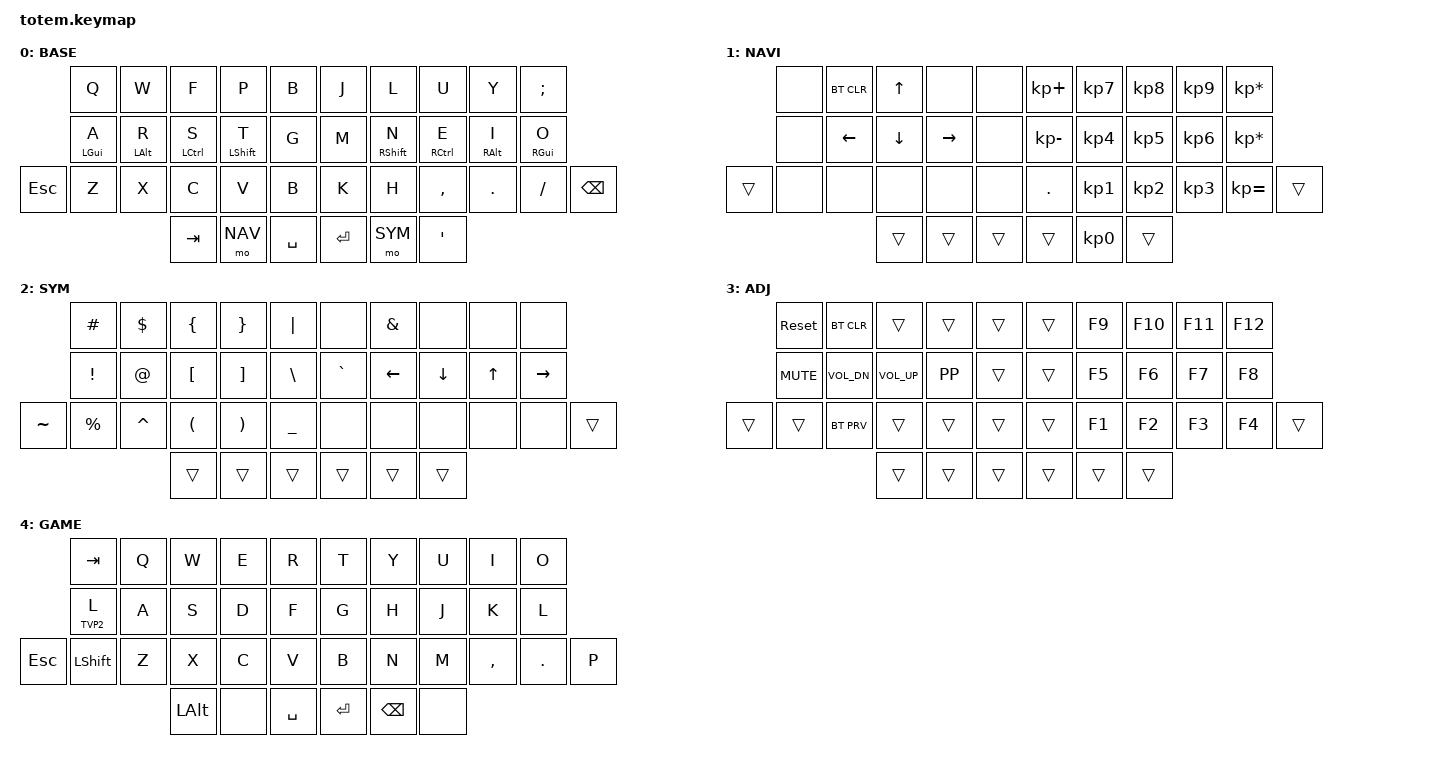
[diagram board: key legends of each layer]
r/
//                                                        ▀▀▀▀▀     ▀▀▀▀▀          ▀▀█▀▀
//                                                        ▄▀▀▀▄  ▄  ▄▀▀▀▄  ▄  ▄▀▀▀▄  █  ▄▀▀▀▄
//                                                        █   █  █  █   █  █  █   █  █  █   █
//                                                         ▀▀▀   █   ▀▀▀   █   ▀▀▀   ▀   ▀▀▀
//                                                               █      ▄▄▄█▄▄▄    █   █  
//                                                               ▀      █  █  █     █▄█
//                                                             ▀▀▀▀▀    █  █  █      ▀
//                                                                      ▀  ▀  ▀
//
// ▄▄▄▄▄▄▄▄▄▄▄▄▄▄▄▄▄▄▄▄▄▄▄▄▄▄▄▄▄▄▄▄▄▄▄▄▄▄▄▄▄▄▄▄▄▄▄▄▄▄▄▄▄▄▄▄▄▄▄▄▄▄▄▄▄▄▄▄▄▄▄▄▄▄▄▄▄▄▄▄▄▄▄▄▄▄▄▄▄▄▄▄▄▄▄▄▄▄▄▄▄▄▄▄▄▄▄▄▄▄▄▄▄▄▄▄▄▄▄▄▄▄▄▄▄▄▄▄▄▄▄▄▄▄▄▄▄▄▄▄▄▄▄▄▄▄▄▄▄
       

#include <behaviors.dtsi>
#include <dt-bindings/zmk/keys.h>
#include <dt-bindings/zmk/bt.h>
#include <dt-bindings/zmk/outputs.h>

#define BASE 0
#define NAV  1
#define SYM  2
#define ADJ  3
#define TVP1 4
#define TVP2 5

&mt {
  quick-tap-ms = <200>;
  global-quick-tap;
  flavor = "tap-preferred";
  tapping-term-ms = <200>;
};
    
/ {
     combos {
            compatible = "zmk,combos";
            combo_game_toggle {
                timeout-ms = <50>;
                key-positions = <0 14>;
                bindings = <&tog GAME>;
            };
    };

    macros {
        gif: gif {
            label = "giphy";
            compatible = "zmk,behavior-macro";
            #binding-cells = <0>;
            bindings
                = <&macro_press &kp LSHFT>
                , <&macro_tap &kp N2>
                , <&macro_release &kp LSHFT>
                , <&macro_tap &kp G &kp I &kp F>
                ;
        };
    };

        keymap {
                compatible = "zmk,keymap";
// ▄▄▄▄▄▄▄▄▄▄▄▄▄▄▄▄▄▄▄▄▄▄▄▄▄▄▄▄▄▄▄▄▄▄▄▄▄▄▄▄▄▄▄▄▄▄▄▄▄▄▄▄▄▄▄▄▄▄▄▄▄▄▄▄▄▄▄▄▄▄▄▄▄▄▄▄▄▄▄▄▄▄▄▄▄▄▄▄▄▄▄▄▄▄▄▄▄▄▄▄▄▄▄▄▄▄▄▄▄▄▄▄▄▄▄▄▄▄▄▄▄▄▄▄▄▄▄▄▄▄▄▄▄▄▄▄▄▄▄▄▄▄▄▄▄▄▄▄▄

                base_layer {
// ┏━━━━━━━━━━━━━━━━━━━━━━━━━━━━━━━━━━━━━━━┓
label= "BASE"                              ;
// ┗━━━━━━━━━━━━━━━━━━━━━━━━━━━━━━━━━━━━━━━┛
//             ┏━━━━━━━━━━━┳━━━━━━━━━━━┳━━━━━━━━━━━┳━━━━━━━━━━━┳━━━━━━━━━━━┓   ┏━━━━━━━━━━━┳━━━━━━━━━━━┳━━━━━━━━━━━┳━━━━━━━━━━━┳━━━━━━━━━━━┓
//             ┃     Q     ┃     W     ┃     F     ┃     P     ┃     B     ┃   ┃     J     ┃     L     ┃     U     ┃     Y     ┃     ;     ┃
//             ┣━━━━━━━━━━━╋━━━━━━━━━━━╋━━━━━━━━━━━╋━━━━━━━━━━━╋━━━━━━━━━━━┫   ┣━━━━━━━━━━━╋━━━━━━━━━━━╋━━━━━━━━━━━╋━━━━━━━━━━━╋━━━━━━━━━━━┫
//             ┃     A     ┃     R     ┃     S     ┃     T     ┃     G     ┃   ┃     M     ┃     N     ┃     E     ┃     I     ┃     O     ┃
// ┏━━━━━━━━━━━╋━━━━━━━━━━━╋━━━━━━━━━━━╋━━━━━━━━━━━╋━━━━━━━━━━━╋━━━━━━━━━━━┫   ┣━━━━━━━━━━━╋━━━━━━━━━━━╋━━━━━━━━━━━╋━━━━━━━━━━━╋━━━━━━━━━━━╋━━━━━━━━━━━┓
// ┃    ESC    ┃     Z     ┃     X     ┃     C     ┃     V     ┃     B     ┃   ┃     K     ┃     H     ┃     ,     ┃     .     ┃     /     ┃    BSPC   ┃
// ┗━━━━━━━━━━━┻━━━━━━━━━━━┻━━━━━━━━━━━╋━━━━━━━━━━━╋━━━━━━━━━━━╋━━━━━━━━━━━┫   ┣━━━━━━━━━━━╋━━━━━━━━━━━╋━━━━━━━━━━━╋━━━━━━━━━━━┻━━━━━━━━━━━┻━━━━━━━━━━━┛
//                                     ┃    TAB    ┃           ┃    SPC    ┃   ┃   ENTER   ┃           ┃     '     ┃
//                                     ┗━━━━━━━━━━━┻━━━━━━━━━━━┻━━━━━━━━━━━┛   ┗━━━━━━━━━━━┻━━━━━━━━━━━┻━━━━━━━━━━━┛
 bindings = <
// ╷           ╷           ╷           ╷           ╷           ╷           ╷   ╷           ╷           ╷           ╷           ╷           ╷           ╷

                &kp Q       &kp W       &kp F       &kp P       &kp B           &kp J       &kp L       &kp U       &kp Y       &kp SEMI
                &mt LGUI A  &mt LALT R  &mt LCTRL S &mt LSHFT T &kp G           &kp M       &mt RSHFT N &mt RCTRL E &mt RALT I  &mt RGUI O
    &kp ESC     &kp Z       &kp X       &kp C       &kp V       &kp B           &kp K       &kp H       &kp COMMA   &kp DOT     &kp FSLH    &kp BSPC
                                        &kp TAB     &mo NAV     &kp SPACE       &kp RET     &mo SYM     &kp APOS
                        >;
                };

// ▄▄▄▄▄▄▄▄▄▄▄▄▄▄▄▄▄▄▄▄▄▄▄▄▄▄▄▄▄▄▄▄▄▄▄▄▄▄▄▄▄▄▄▄▄▄▄▄▄▄▄▄▄▄▄▄▄▄▄▄▄▄▄▄▄▄▄▄▄▄▄▄▄▄▄▄▄▄▄▄▄▄▄▄▄▄▄▄▄▄▄▄▄▄▄▄▄▄▄▄▄▄▄▄▄▄▄▄▄▄▄▄▄▄▄▄▄▄▄▄▄▄▄▄▄▄▄▄▄▄▄▄▄▄▄▄▄▄▄▄▄▄▄▄▄▄▄▄▄


                nav_layer {
// ┏━━━━━━━━━━━━━━━━━━━━━━━━━━━━━━━━━━━━━━━┓
label= "NAVI"                              ;
// ┗━━━━━━━━━━━━━━━━━━━━━━━━━━━━━━━━━━━━━━━┛
//             ┏━━━━━━━━━━━┳━━━━━━━━━━━┳━━━━━━━━━━━┳━━━━━━━━━━━┳━━━━━━━━━━━┓   ┏━━━━━━━━━━━┳━━━━━━━━━━━┳━━━━━━━━━━━┳━━━━━━━━━━━┳━━━━━━━━━━━┓
//             ┃           ┃           ┃     UP    ┃           ┃           ┃   ┃     +     ┃     7     ┃     8     ┃     9     ┃     /     ┃
//             ┣━━━━━━━━━━━╋━━━━━━━━━━━╋━━━━━━━━━━━╋━━━━━━━━━━━╋━━━━━━━━━━━┫   ┣━━━━━━━━━━━╋━━━━━━━━━━━╋━━━━━━━━━━━╋━━━━━━━━━━━╋━━━━━━━━━━━┫
//             ┃           ┃   LEFT    ┃    DOWN   ┃   RIGHT   ┃           ┃   ┃     -     ┃     4     ┃     5     ┃     6     ┃     -     ┃
// ┏━━━━━━━━━━━╋━━━━━━━━━━━╋━━━━━━━━━━━╋━━━━━━━━━━━╋━━━━━━━━━━━╋━━━━━━━━━━━┫   ┣━━━━━━━━━━━╋━━━━━━━━━━━╋━━━━━━━━━━━╋━━━━━━━━━━━╋━━━━━━━━━━━╋━━━━━━━━━━━┓
// ┃           ┃           ┃           ┃           ┃           ┃           ┃   ┃     .     ┃     1     ┃     2     ┃     3     ┃     =     ┃           ┃
// ┗━━━━━━━━━━━┻━━━━━━━━━━━┻━━━━━━━━━━━╋━━━━━━━━━━━╋━━━━━━━━━━━╋━━━━━━━━━━━┫   ┣━━━━━━━━━━━╋━━━━━━━━━━━╋━━━━━━━━━━━╋━━━━━━━━━━━┻━━━━━━━━━━━┻━━━━━━━━━━━┛
//                                     ┃           ┃    TAB    ┃    SPC    ┃   ┃           ┃     0     ┃           ┃
//                                     ┗━━━━━━━━━━━┻━━━━━━━━━━━┻━━━━━━━━━━━┛   ┗━━━━━━━━━━━┻━━━━━━━━━━━┻━━━━━━━━━━━┛
 bindings = <
// ╷           ╷           ╷           ╷           ╷           ╷           ╷   ╷           ╷           ╷           ╷           ╷           ╷           ╷

                &none       &bt BT_CLR  &kp UP      &none       &none           &kp KP_PLUS  &kp KP_N7   &kp KP_N8   &kp KP_N9   &kp KP_MULTIPLY
                &none       &kp LEFT    &kp DOWN    &kp RIGHT   &none           &kp KP_MINUS &kp KP_N4   &kp KP_N5   &kp KP_N6   &kp KP_MULTIPLY
    &trans      &none       &none       &none       &none       &none           &kp PERIOD   &kp KP_N1   &kp KP_N2   &kp KP_N3   &kp KP_EQUAL &trans      
                                        &trans      &trans      &trans          &trans       &kp KP_N0   &trans      
                        >;
                };

// ▄▄▄▄▄▄▄▄▄▄▄▄▄▄▄▄▄▄▄▄▄▄▄▄▄▄▄▄▄▄▄▄▄▄▄▄▄▄▄▄▄▄▄▄▄▄▄▄▄▄▄▄▄▄▄▄▄▄▄▄▄▄▄▄▄▄▄▄▄▄▄▄▄▄▄▄▄▄▄▄▄▄▄▄▄▄▄▄▄▄▄▄▄▄▄▄▄▄▄▄▄▄▄▄▄▄▄▄▄▄▄▄▄▄▄▄▄▄▄▄▄▄▄▄▄▄▄▄▄▄▄▄▄▄▄▄▄▄▄▄▄▄▄▄▄▄▄▄▄


                sim_layer {
// ┏━━━━━━━━━━━━━━━━━━━━━━━━━━━━━━━━━━━━━━━┓
label= "SYM"                               ;
// ┗━━━━━━━━━━━━━━━━━━━━━━━━━━━━━━━━━━━━━━━┛
//             ┏━━━━━━━━━━━┳━━━━━━━━━━━┳━━━━━━━━━━━┳━━━━━━━━━━━┳━━━━━━━━━━━┓   ┏━━━━━━━━━━━┳━━━━━━━━━━━┳━━━━━━━━━━━┳━━━━━━━━━━━┳━━━━━━━━━━━┓
//             ┃     #     ┃     $     ┃     {     ┃     }     ┃           ┃   ┃           ┃           ┃           ┃           ┃           ┃
//             ┣━━━━━━━━━━━╋━━━━━━━━━━━╋━━━━━━━━━━━╋━━━━━━━━━━━╋━━━━━━━━━━━┫   ┣━━━━━━━━━━━╋━━━━━━━━━━━╋━━━━━━━━━━━╋━━━━━━━━━━━╋━━━━━━━━━━━┫
//             ┃     !     ┃     @     ┃     [     ┃     ]     ┃     \     ┃   ┃           ┃   LEFT    ┃   DOWN    ┃    UP     ┃   RIGHT   ┃
// ┏━━━━━━━━━━━╋━━━━━━━━━━━╋━━━━━━━━━━━╋━━━━━━━━━━━╋━━━━━━━━━━━╋━━━━━━━━━━━┫   ┣━━━━━━━━━━━╋━━━━━━━━━━━╋━━━━━━━━━━━╋━━━━━━━━━━━╋━━━━━━━━━━━╋━━━━━━━━━━━┓
// ┃     ~     ┃     %     ┃     ^     ┃     (     ┃           ┃     _     ┃   ┃           ┃           ┃           ┃           ┃           ┃           ┃
// ┗━━━━━━━━━━━┻━━━━━━━━━━━┻━━━━━━━━━━━╋━━━━━━━━━━━╋━━━━━━━━━━━╋━━━━━━━━━━━┫   ┣━━━━━━━━━━━╋━━━━━━━━━━━╋━━━━━━━━━━━╋━━━━━━━━━━━┻━━━━━━━━━━━┻━━━━━━━━━━━┛
//                                     ┃           ┃           ┃           ┃   ┃           ┃           ┃           ┃
//                                     ┗━━━━━━━━━━━┻━━━━━━━━━━━┻━━━━━━━━━━━┛   ┗━━━━━━━━━━━┻━━━━━━━━━━━┻━━━━━━━━━━━┛
 bindings = <
// ╷           ╷           ╷           ╷           ╷           ╷           ╷   ╷           ╷           ╷           ╷           ╷           ╷           ╷

                &kp HASH    &kp DLLR    &kp LBRC    &kp RBRC    &kp PIPE        &none       &kp AMPS    &none       &none       &none      
                &kp EXCL    &kp AT      &kp LBKT    &kp RBKT    &kp BSLH        &kp GRAVE   &kp LEFT    &kp DOWN    &kp UP      &kp RIGHT
    &kp TILDE   &kp PRCNT   &kp CARET   &kp LPAR    &kp RPAR    &kp UNDER       &none       &none       &none       &none       &none       &trans         
                                        &trans      &trans      &trans          &trans      &trans      &trans      
                        >;
                };

// ▄▄▄▄▄▄▄▄▄▄▄▄▄▄▄▄▄▄▄▄▄▄▄▄▄▄▄▄▄▄▄▄▄▄▄▄▄▄▄▄▄▄▄▄▄▄▄▄▄▄▄▄▄▄▄▄▄▄▄▄▄▄▄▄▄▄▄▄▄▄▄▄▄▄▄▄▄▄▄▄▄▄▄▄▄▄▄▄▄▄▄▄▄▄▄▄▄▄▄▄▄▄▄▄▄▄▄▄▄▄▄▄▄▄▄▄▄▄▄▄▄▄▄▄▄▄▄▄▄▄▄▄▄▄▄▄▄▄▄▄▄▄▄▄▄▄▄▄▄


                adjust_layer {
// ┏━━━━━━━━━━━━━━━━━━━━━━━━━━━━━━━━━━━━━━━┓
label= "ADJ"                               ;
// ┗━━━━━━━━━━━━━━━━━━━━━━━━━━━━━━━━━━━━━━━┛
//             ┏━━━━━━━━━━━┳━━━━━━━━━━━┳━━━━━━━━━━━┳━━━━━━━━━━━┳━━━━━━━━━━━┓   ┏━━━━━━━━━━━┳━━━━━━━━━━━┳━━━━━━━━━━━┳━━━━━━━━━━━┳━━━━━━━━━━━┓
//             ┃           ┃ BT CLEAR  ┃           ┃           ┃           ┃   ┃           ┃    F9     ┃    F10    ┃    F11    ┃    F12    ┃
//             ┣━━━━━━━━━━━╋━━━━━━━━━━━╋━━━━━━━━━━━╋━━━━━━━━━━━╋━━━━━━━━━━━┫   ┣━━━━━━━━━━━╋━━━━━━━━━━━╋━━━━━━━━━━━╋━━━━━━━━━━━╋━━━━━━━━━━━┫
//             ┃   MUTE    ┃ VOL_DOWN  ┃  VOL_UP   ┃Play/Pause ┃           ┃   ┃           ┃    F5     ┃    F6     ┃    F7     ┃    F8     ┃
// ┏━━━━━━━━━━━╋━━━━━━━━━━━╋━━━━━━━━━━━╋━━━━━━━━━━━╋━━━━━━━━━━━╋━━━━━━━━━━━┫   ┣━━━━━━━━━━━╋━━━━━━━━━━━╋━━━━━━━━━━━╋━━━━━━━━━━━╋━━━━━━━━━━━╋━━━━━━━━━━━┓
// ┃           ┃           ┃           ┃           ┃           ┃           ┃   ┃           ┃    F1     ┃    F2     ┃    F3     ┃    F4     ┃           ┃
// ┗━━━━━━━━━━━┻━━━━━━━━━━━┻━━━━━━━━━━━╋━━━━━━━━━━━╋━━━━━━━━━━━╋━━━━━━━━━━━┫   ┣━━━━━━━━━━━╋━━━━━━━━━━━╋━━━━━━━━━━━╋━━━━━━━━━━━┻━━━━━━━━━━━┻━━━━━━━━━━━┛
//                                     ┃           ┃           ┃           ┃   ┃           ┃           ┃           ┃
//                                     ┗━━━━━━━━━━━┻━━━━━━━━━━━┻━━━━━━━━━━━┛   ┗━━━━━━━━━━━┻━━━━━━━━━━━┻━━━━━━━━━━━┛
 bindings = <
// ╷           ╷           ╷           ╷           ╷           ╷           ╷   ╷           ╷           ╷           ╷           ╷           ╷           ╷

                &sys_reset  &bt BT_CLR   &trans       &trans      &trans          &trans      &kp F9      &kp F10     &kp F11     &kp F12
                &kp K_MUTE  &kp K_VOL_DN &kp K_VOL_UP &kp K_PP    &trans          &trans      &kp F5      &kp F6      &kp F7      &kp F8  
    &trans      &trans      &bt BT_PRV   &trans       &trans      &trans          &trans      &kp F1      &kp F2      &kp F3      &kp F4      &trans         
                                         &trans       &trans      &trans          &trans      &trans      &trans      
                        >;
                };

// ▄▄▄▄▄▄▄▄▄▄▄▄▄▄▄▄▄▄▄▄▄▄▄▄▄▄▄▄▄▄▄▄▄▄▄▄▄▄▄▄▄▄▄▄▄▄▄▄▄▄▄▄▄▄▄▄▄▄▄▄▄▄▄▄▄▄▄▄▄▄▄▄▄▄▄▄▄▄▄▄▄▄▄▄▄▄▄▄▄▄▄▄▄▄▄▄▄▄▄▄▄▄▄▄▄▄▄▄▄▄▄▄▄▄▄▄▄▄▄▄▄▄▄▄▄▄▄▄▄▄▄▄▄▄▄▄▄▄▄▄▄▄▄▄▄▄▄▄▄


                game_layer {
// ┏━━━━━━━━━━━━━━━━━━━━━━━━━━━━━━━━━━━━━━━┓
label= "GAME"                             ;
// ┗━━━━━━━━━━━━━━━━━━━━━━━━━━━━━━━━━━━━━━━┛
//             ┏━━━━━━━━━━━┳━━━━━━━━━━━┳━━━━━━━━━━━┳━━━━━━━━━━━┳━━━━━━━━━━━┓   ┏━━━━━━━━━━━┳━━━━━━━━━━━┳━━━━━━━━━━━┳━━━━━━━━━━━┳━━━━━━━━━━━┓
//             ┃   TAB     ┃     Q     ┃     W     ┃     E     ┃     R     ┃   ┃     T     ┃     Y     ┃     U     ┃     I     ┃     O     ┃
//             ┣━━━━━━━━━━━╋━━━━━━━━━━━╋━━━━━━━━━━━╋━━━━━━━━━━━╋━━━━━━━━━━━┫   ┣━━━━━━━━━━━╋━━━━━━━━━━━╋━━━━━━━━━━━╋━━━━━━━━━━━╋━━━━━━━━━━━┫
//             ┃  SHIFT    ┃     A     ┃     S     ┃     D     ┃     F     ┃   ┃     G     ┃     H     ┃     J     ┃     K     ┃     L     ┃
// ┏━━━━━━━━━━━╋━━━━━━━━━━━╋━━━━━━━━━━━╋━━━━━━━━━━━╋━━━━━━━━━━━╋━━━━━━━━━━━┫   ┣━━━━━━━━━━━╋━━━━━━━━━━━╋━━━━━━━━━━━╋━━━━━━━━━━━╋━━━━━━━━━━━╋━━━━━━━━━━━┓
// ┃    ESC    ┃  CTRL     ┃     Z     ┃     X     ┃     C     ┃     V     ┃   ┃     B     ┃     N     ┃     M     ┃     ,     ┃     .     ┃     P     ┃
// ┗━━━━━━━━━━━┻━━━━━━━━━━━┻━━━━━━━━━━━╋━━━━━━━━━━━╋━━━━━━━━━━━╋━━━━━━━━━━━┫   ┣━━━━━━━━━━━╋━━━━━━━━━━━╋━━━━━━━━━━━╋━━━━━━━━━━━┻━━━━━━━━━━━┻━━━━━━━━━━━┛
//                                     ┃           ┃           ┃   SPACE   ┃   ┃   ENTER   ┃   BKSPC   ┃           ┃
//                                     ┗━━━━━━━━━━━┻━━━━━━━━━━━┻━━━━━━━━━━━┛   ┗━━━━━━━━━━━┻━━━━━━━━━━━┻━━━━━━━━━━━┛
 bindings = <
// ╷           ╷           ╷           ╷           ╷           ╷           ╷   ╷           ╷           ╷           ╷           ╷           ╷           ╷

                &kp TAB     &kp Q       &kp W       &kp E       &kp R           &kp T       &kp Y       &kp U       &kp I       &kp O
                &lt TVP2 L  &kp A       &kp S       &kp D       &kp F           &kp G       &kp H       &kp J       &kp K       &kp L
    &kp ESC     &kp LSHFT   &kp Z       &kp X       &kp C       &kp V           &kp B       &kp N       &kp M       &kp COMMA   &kp PERIOD  &kp P        
                                        &kp LALT    &none       &kp SPACE       &kp RET     &kp BSPC    &none    
                        >;
                };

// ▄▄▄▄▄▄▄▄▄▄▄▄▄▄▄▄▄▄▄▄▄▄▄▄▄▄▄▄▄▄▄▄▄▄▄▄▄▄▄▄▄▄▄▄▄▄▄▄▄▄▄▄▄▄▄▄▄▄▄▄▄▄▄▄▄▄▄▄▄▄▄▄▄▄▄▄▄▄▄▄▄▄▄▄▄▄▄▄▄▄▄▄▄▄▄▄▄▄▄▄▄▄▄▄▄▄▄▄▄▄▄▄▄▄▄▄▄▄▄▄▄▄▄▄▄▄▄▄▄▄▄▄▄▄▄▄▄▄▄▄▄▄▄▄▄▄▄▄▄

